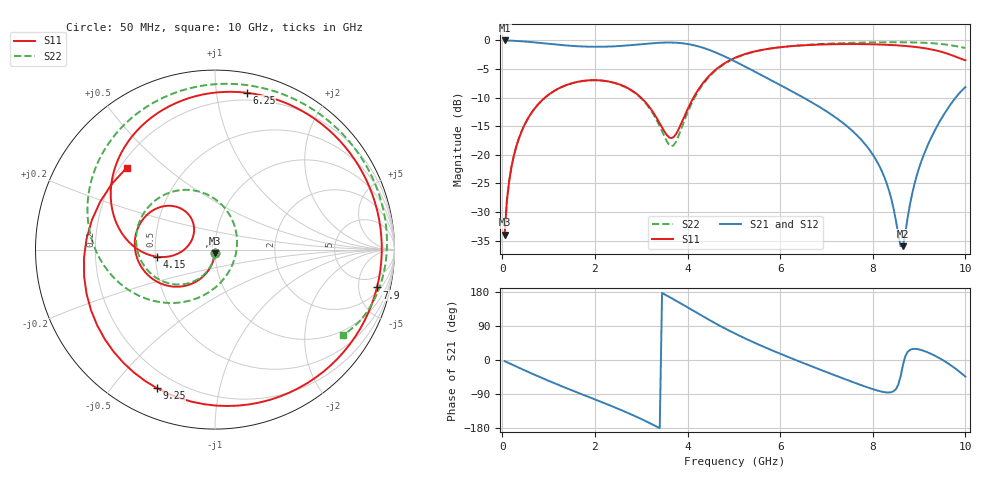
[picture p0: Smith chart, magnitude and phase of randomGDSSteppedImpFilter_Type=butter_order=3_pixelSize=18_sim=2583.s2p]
! freq	dB(S11)	phase(S11)	dB(S12)	phase(S12)
!  dB(S21)	phase(S21)	dB(S22)	phase(S22)
!S-par simulation data
#  GHz  S  DB  R 50
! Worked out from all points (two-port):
!   200 points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, 50 MHz to 10 GHz, reference 50 ohm
!   highest |S21| = -0.01 dB at 50 MHz (marker M1); lowest = -36.0 dB at 8.65 GHz (marker M2)
!   |S21| within 3 dB of the highest: start of sweep to 4.855 GHz
!   lowest |S11| = -34.0 dB at 50 MHz (marker M3), VSWR 1.04, Z = 49.9 - j1.99 ohm
!   |S11| at or under -10 dB: start of sweep to 922.7 MHz; 2.994 GHz to 4.129 GHz (1.135 GHz wide, 31.9 % of centre)
!   |S22| runs from -34.0 to -0.3 dB; largest |S21 - S12| = 0
!   S11 on the Smith chart (normalised r, x): 50 MHz: 1.00, -0.04; 4.15 GHz: 0.51, -0.04; 6.25 GHz: 0.14, +1.21; 7.9 GHz: 2.61, -7.81; 9.25 GHz: 0.13, -0.66; 10 GHz: 0.23, +0.37
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0.05  -33.99 -92.8  -0.01 -2.9  -0.01 -2.9  -33.99 -93.0
0.2  -22.03 -101.4  -0.05 -11.5  -0.05 -11.5  -22.04 -102.2
0.5  -14.45 -117.8  -0.20 -28.2  -0.20 -28.2  -14.46 -119.8
1.1  -8.94 -148.2  -0.67 -60.0  -0.67 -60.0  -8.94 -152.9
1.75  -7.07 -178.1  -1.06 -91.9  -1.06 -91.9  -7.08 173.3
2.7  -8.30 141.8  -0.88 -139.1  -0.88 -139.1  -8.34 120.0
3.4  -14.50 129.8  -0.41 -179.9  -0.41 -179.9  -15.02 53.5
3.7  -16.89 164.8  -0.38 160.0  -0.38 160.0  -18.34 -26.8
4.15  -9.70 -173.1  -0.87 128.2  -0.87 128.2  -10.05 -115.7
4.55  -5.53 169.8  -1.91 100.2  -1.91 100.2  -5.68 -153.0
5.05  -2.96 142.4  -3.78 68.3  -3.78 68.3  -3.02 171.6
5.7  -1.52 107.4  -6.51 32.0  -6.51 32.0  -1.54 135.0
6.25  -1.00 78.6  -8.88 4.2  -8.88 4.2  -0.97 108.7
6.7  -0.78 54.8  -10.91 -17.6  -10.91 -17.6  -0.70 89.0
7.35  -0.64 19.0  -14.39 -48.2  -14.39 -48.2  -0.47 62.4
7.9  -0.66 -13.2  -18.82 -72.8  -18.82 -72.8  -0.36 40.9
8.35  -0.78 -41.7  -26.23 -85.7  -26.23 -85.7  -0.32 23.9
8.65  -0.93 -62.5  -35.98 -14.0  -35.98 -14.0  -0.32 12.8
8.9  -1.12 -81.6  -25.13 29.4  -25.13 29.4  -0.36 3.6
9.25  -1.55 -112.9  -17.20 16.7  -17.20 16.7  -0.47 -9.1
9.7  -2.56 -168.5  -10.96 -15.1  -10.96 -15.1  -0.86 -24.8
10  -3.47 137.2  -8.17 -43.8  -8.17 -43.8  -1.32 -33.6
